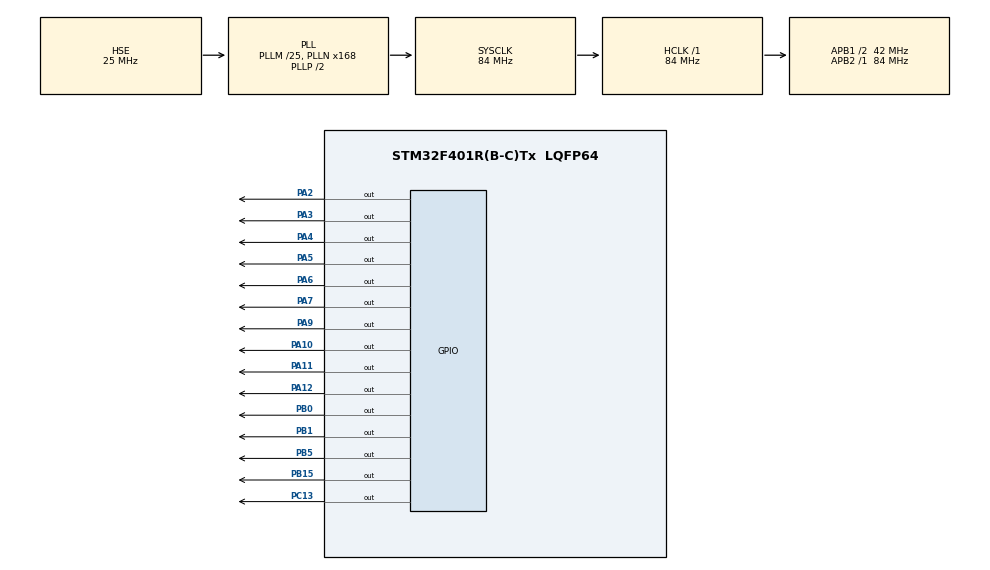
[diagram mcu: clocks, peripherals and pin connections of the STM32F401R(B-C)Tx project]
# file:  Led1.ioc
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Mcu.Family=STM32F4
Mcu.Name=STM32F401R(B-C)Tx
Mcu.Package=LQFP64
NVIC.PriorityGroup=NVIC_PRIORITYGROUP_4
PA10.GPIO_PuPd=GPIO_PULLUP
PA10.Signal=GPIO_Output
PA11.GPIO_PuPd=GPIO_PULLUP
PA11.Signal=GPIO_Output
PA12.GPIO_PuPd=GPIO_PULLUP
PA12.Signal=GPIO_Output
PA13.Mode=Serial_Wire
PA13.Signal=SYS_JTMS-SWDIO
PA14.Mode=Serial_Wire
PA14.Signal=SYS_JTCK-SWCLK
PA2.GPIO_PuPd=GPIO_PULLUP
PA2.Signal=GPIO_Output
PA3.Signal=GPIO_Output
PA4.GPIO_PuPd=GPIO_PULLUP
PA4.Signal=GPIO_Output
PA5.GPIO_PuPd=GPIO_PULLUP
PA5.Signal=GPIO_Output
PA6.GPIO_PuPd=GPIO_PULLUP
PA6.Signal=GPIO_Output
PA7.GPIO_PuPd=GPIO_PULLUP
PA7.Signal=GPIO_Output
PA9.GPIO_PuPd=GPIO_PULLUP
PA9.Signal=GPIO_Output
PB0.GPIO_PuPd=GPIO_PULLUP
PB0.Signal=GPIO_Output
PB1.GPIO_PuPd=GPIO_PULLUP
PB1.Signal=GPIO_Output
PB15.GPIO_PuPd=GPIO_PULLUP
PB15.Signal=GPIO_Output
PB5.Signal=GPIO_Output
PC13-ANTI_TAMP.PinState=GPIO_PIN_SET
PC13-ANTI_TAMP.Signal=GPIO_Output
PH0\ -\ OSC_IN.Mode=HSE-External-Oscillator
PH0\ -\ OSC_IN.Signal=RCC_OSC_IN
PH1\ -\ OSC_OUT.Mode=HSE-External-Oscillator
PH1\ -\ OSC_OUT.Signal=RCC_OSC_OUT
ProjectManager.HeapSize=0x200
ProjectManager.StackSize=0x400
ProjectManager.TargetToolchain=STM32CubeIDE
RCC.48MHZClocksFreq_Value=42000000
RCC.AHBFreq_Value=84000000
RCC.APB1CLKDivider=RCC_HCLK_DIV2
RCC.APB1Freq_Value=42000000
RCC.APB1TimFreq_Value=84000000
RCC.APB2Freq_Value=84000000
RCC.APB2TimFreq_Value=84000000
RCC.CortexFreq_Value=84000000
RCC.HCLKFreq_Value=84000000
RCC.HSE_VALUE=25000000
RCC.HSI_VALUE=16000000
RCC.LSE_VALUE=32768
RCC.PLLM=25
RCC.PLLN=168
RCC.PLLSourceVirtual=RCC_PLLSOURCE_HSE
RCC.SYSCLKFreq_VALUE=84000000
RCC.SYSCLKSource=RCC_SYSCLKSOURCE_PLLCLK
RCC.VCOOutputFreq_Value=168000000
board=custom

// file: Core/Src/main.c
/* USER CODE BEGIN Header */
/**
  ******************************************************************************
  * @file           : main.c
  * @brief          : Main program body
  ******************************************************************************
  * @attention
  *
  * Copyright (c) 2024 STMicroelectronics.
  * All rights reserved.
  *
  * This software is licensed under terms that can be found in the LICENSE file
  * in the root directory of this software component.
  * If no LICENSE file comes with this software, it is provided AS-IS.
  *
  ******************************************************************************
  */
/* USER CODE END Header */
#include "main.h"

/* USER CODE BEGIN Includes */
#include <math.h>
#include <stdbool.h>
/* USER CODE END Includes */

/* USER CODE BEGIN PV */
/*uint16_t count = 0;*/
uint16_t counter =0;
bool status = false;
uint16_t button_counter;
int hours = 0;
int minutes = 0;
int seconds = 0;
float actual_minute;
//int a=10;
char est=0;

/* USER CODE END PV */

void SystemClock_Config(void);
static void MX_GPIO_Init(void);
/* USER CODE BEGIN PFP */
void mode_set();
void mode_run();
void real_time();
void time_boton();
void show_minutes(GPIO_TypeDef* port,uint16_t Pin);
void show_hours(int h);
void shut_down();

/* USER CODE END PFP */

int main(void)
{

  /* MCU Configuration--------------------------------------------------------*/

  /* Reset of all peripherals, Initializes the Flash interface and the Systick. */
  HAL_Init();

  /* Configure the system clock */
  SystemClock_Config();

  /* Initialize all configured peripherals */
  MX_GPIO_Init();
  /* USER CODE BEGIN 2 */
 /* while(1){
	  HAL_Delay(a);
	  HAL_GPIO_WritePin(GPIOA, GPIO_PIN_2, GPIO_PIN_SET);
	  HAL_Delay(a);
	  HAL_GPIO_WritePin(GPIOA, GPIO_PIN_2, GPIO_PIN_RESET);

  }/*
  /* USER CODE END 2 */

  /* Infinite loop */
  while (1)
  {

    /* USER CODE BEGIN 3 */
	  HAL_Delay(1);
	  counter++;
	  real_time(); // actualiza las variables de tiempo (hours, minutes, seconds)
	  while(!(HAL_GPIO_ReadPin(GPIOB, GPIO_PIN_5) == 0))
	  {
	      if (status == false) {
	          counter = 0;
	          status = true;
	      }
	      HAL_Delay(1);
	      counter++;
	      button_counter++;//tiempo seleccion boton
	      real_time();// actualiza las variables de tiempo (hours, minutes, seconds)
	  }

	  if ((button_counter >= 400) && (button_counter < 2000))
	  {

		  button_counter = 0;
		  mode_run();
		  button_counter = 0;

	  }

	  else if (button_counter > (2000))
	  {
		  button_counter = 0;
	      mode_set();
	      button_counter = 0;
	  }

	  button_counter = 0;
	  status = false;

  }
  /* USER CODE END 3 */
}

void SystemClock_Config(void)
{
  RCC_OscInitTypeDef RCC_OscInitStruct = {0};
  RCC_ClkInitTypeDef RCC_ClkInitStruct = {0};

  /** Configure the main internal regulator output voltage
  */
  __HAL_RCC_PWR_CLK_ENABLE();
  __HAL_PWR_VOLTAGESCALING_CONFIG(PWR_REGULATOR_VOLTAGE_SCALE2);

  /** Initializes the RCC Oscillators according to the specified parameters
  * in the RCC_OscInitTypeDef structure.
  */
  RCC_OscInitStruct.OscillatorType = RCC_OSCILLATORTYPE_HSE;
  RCC_OscInitStruct.HSEState = RCC_HSE_ON;
  RCC_OscInitStruct.PLL.PLLState = RCC_PLL_ON;
  RCC_OscInitStruct.PLL.PLLSource = RCC_PLLSOURCE_HSE;
  RCC_OscInitStruct.PLL.PLLM = 25;
  RCC_OscInitStruct.PLL.PLLN = 168;
  RCC_OscInitStruct.PLL.PLLP = RCC_PLLP_DIV2;
  RCC_OscInitStruct.PLL.PLLQ = 4;
  if (HAL_RCC_OscConfig(&RCC_OscInitStruct) != HAL_OK)
  {
    Error_Handler();
  }

  /** Initializes the CPU, AHB and APB buses clocks
  */
  RCC_ClkInitStruct.ClockType = RCC_CLOCKTYPE_HCLK|RCC_CLOCKTYPE_SYSCLK
                              |RCC_CLOCKTYPE_PCLK1|RCC_CLOCKTYPE_PCLK2;
  RCC_ClkInitStruct.SYSCLKSource = RCC_SYSCLKSOURCE_PLLCLK;
  RCC_ClkInitStruct.AHBCLKDivider = RCC_SYSCLK_DIV1;
  RCC_ClkInitStruct.APB1CLKDivider = RCC_HCLK_DIV2;
  RCC_ClkInitStruct.APB2CLKDivider = RCC_HCLK_DIV1;

  if (HAL_RCC_ClockConfig(&RCC_ClkInitStruct, FLASH_LATENCY_2) != HAL_OK)
  {
    Error_Handler();
  }
}

static void MX_GPIO_Init(void)
{
  GPIO_InitTypeDef GPIO_InitStruct = {0};

  /* GPIO Ports Clock Enable */
  __HAL_RCC_GPIOC_CLK_ENABLE();
  __HAL_RCC_GPIOH_CLK_ENABLE();
  __HAL_RCC_GPIOA_CLK_ENABLE();
  __HAL_RCC_GPIOB_CLK_ENABLE();

  /*Configure GPIO pin Output Level */
  HAL_GPIO_WritePin(GPIOC, GPIO_PIN_13, GPIO_PIN_SET);

  /*Configure GPIO pin Output Level */
  HAL_GPIO_WritePin(GPIOA, GPIO_PIN_2|GPIO_PIN_3|GPIO_PIN_4|GPIO_PIN_5
                          |GPIO_PIN_6|GPIO_PIN_7|GPIO_PIN_9|GPIO_PIN_10
                          |GPIO_PIN_11|GPIO_PIN_12, GPIO_PIN_RESET);

  /*Configure GPIO pin Output Level */
  HAL_GPIO_WritePin(GPIOB, GPIO_PIN_0|GPIO_PIN_1|GPIO_PIN_15|GPIO_PIN_5, GPIO_PIN_RESET);

  /*Configure GPIO pin : PC13 */
  GPIO_InitStruct.Pin = GPIO_PIN_13;
  GPIO_InitStruct.Mode = GPIO_MODE_OUTPUT_PP;
  GPIO_InitStruct.Pull = GPIO_NOPULL;
  GPIO_InitStruct.Speed = GPIO_SPEED_FREQ_LOW;
  HAL_GPIO_Init(GPIOC, &GPIO_InitStruct);

  /*Configure GPIO pins : PA2 PA4 PA5 PA6
                           PA7 PA9 PA10 PA11
                           PA12 */
  GPIO_InitStruct.Pin = GPIO_PIN_2|GPIO_PIN_4|GPIO_PIN_5|GPIO_PIN_6
                          |GPIO_PIN_7|GPIO_PIN_9|GPIO_PIN_10|GPIO_PIN_11
                          |GPIO_PIN_12;
  GPIO_InitStruct.Mode = GPIO_MODE_OUTPUT_PP;
  GPIO_InitStruct.Pull = GPIO_PULLUP;
  GPIO_InitStruct.Speed = GPIO_SPEED_FREQ_LOW;
  HAL_GPIO_Init(GPIOA, &GPIO_InitStruct);

  /*Configure GPIO pin : PA3 */
  GPIO_InitStruct.Pin = GPIO_PIN_3;
  GPIO_InitStruct.Mode = GPIO_MODE_OUTPUT_PP;
  GPIO_InitStruct.Pull = GPIO_NOPULL;
  GPIO_InitStruct.Speed = GPIO_SPEED_FREQ_LOW;
  HAL_GPIO_Init(GPIOA, &GPIO_InitStruct);

  /*Configure GPIO pins : PB0 PB1 PB15 */
  GPIO_InitStruct.Pin = GPIO_PIN_0|GPIO_PIN_1|GPIO_PIN_15;
  GPIO_InitStruct.Mode = GPIO_MODE_OUTPUT_PP;
  GPIO_InitStruct.Pull = GPIO_PULLUP;
  GPIO_InitStruct.Speed = GPIO_SPEED_FREQ_LOW;
  HAL_GPIO_Init(GPIOB, &GPIO_InitStruct);

  /*Configure GPIO pin : PB5 */
  GPIO_InitStruct.Pin = GPIO_PIN_5;
  GPIO_InitStruct.Mode = GPIO_MODE_OUTPUT_PP;
  GPIO_InitStruct.Pull = GPIO_NOPULL;
  GPIO_InitStruct.Speed = GPIO_SPEED_FREQ_LOW;
  HAL_GPIO_Init(GPIOB, &GPIO_InitStruct);

}

/* USER CODE BEGIN 4 */
void mode_run() {
    HAL_GPIO_WritePin(GPIOA, GPIO_PIN_3, GPIO_PIN_SET);
    HAL_Delay(1);
    counter++;//tiempo
    button_counter++;//cuanto llevo
    real_time(); // actualiza las variables de tiempo (hours, minutes, seconds)
    while( button_counter <= 400)
    {
    	HAL_Delay(1);
    	button_counter++;
    	counter++;
    	real_time(); // actualiza las variables de tiempo (hours, minutes, seconds)
    }
    HAL_GPIO_WritePin(GPIOA, GPIO_PIN_3, GPIO_PIN_RESET);

    show_hours(hours);

    actual_minute = (float)minutes / 5;
    switch ((int)round(actual_minute)) {
        case 0:
            show_minutes(GPIOA, GPIO_PIN_2);
            break;
        case 1:
            show_minutes(GPIOA, GPIO_PIN_12);
            break;
        case 2:
            show_minutes(GPIOA, GPIO_PIN_11);
            break;
        case 3:
            show_minutes(GPIOA, GPIO_PIN_10);
            break;
        case 4:
            show_minutes(GPIOA, GPIO_PIN_9);
            break;
        case 5:
            show_minutes(GPIOB, GPIO_PIN_15);
            break;
        case 6:
            show_minutes(GPIOB, GPIO_PIN_0);
            break;
        case 7:
            show_minutes(GPIOA, GPIO_PIN_7);
            break;
        case 8:
            show_minutes(GPIOB, GPIO_PIN_1);
            break;
        case 9:
            show_minutes(GPIOA, GPIO_PIN_6);
            break;
        case 10:
            show_minutes(GPIOA, GPIO_PIN_5);
            break;
        case 11:
            show_minutes(GPIOA, GPIO_PIN_4);
            break;
        default:
            break;
    }

    shut_down();
}

void mode_set() {

	est=0;

 for (int i = 0; i < 4; i++)
 {
	HAL_GPIO_WritePin(GPIOA, GPIO_PIN_3, !(HAL_GPIO_ReadPin(GPIOA, GPIO_PIN_3)));// Encender LED MINUTO
	button_counter = 0;
	while( button_counter <= 400)
	    {
	HAL_Delay(1);
	button_counter++;
	counter++;
	real_time(); // actualiza las variables de tiempo (hours, minutes, seconds)
	    }
 }

 while(est == 0)
 {
	 show_hours(hours);

	 // Encender LED MINUTO
	 button_counter = 0;

	 while(!(HAL_GPIO_ReadPin(GPIOB, GPIO_PIN_5) == 0))
	 	  {
	 	      if (status == false) {
	 	          counter = 0;
	 	          status = true;
	 	      }
	 	      HAL_Delay(1);
	 	      counter++;
	 	      button_counter++;//tiempo seleccion boton
	 	      real_time();// actualiza las variables de tiempo (hours, minutes, seconds)
	 	  }

	 if ((button_counter >= 10) && (button_counter < 2000))
	 	  {

	 		  button_counter = 0;
	 		  hours = hours+1;
	 		  button_counter = 0;

	 		  if(hours >11){
	 			  hours =0;
	 		  }

	 		  shut_down();

	 	  }

	 else if (button_counter > (2000))
	 	  {
	 		  button_counter = 0;
	 		  est=1;
	 	      button_counter = 0;
	 	      shut_down();
	 	  }

 }

 while(est == 1)
 {
	 actual_minute = (float)minutes / 5;
	 show_hours(actual_minute);

	// Encender LED MINUTO
	 button_counter = 0;

	 while(!(HAL_GPIO_ReadPin(GPIOB, GPIO_PIN_5) == 0))
	 	  {
	 	      if (status == false) {
	 	          counter = 0;
	 	          status = true;
	 	      }
	 	      HAL_Delay(1);
	 	      counter++;
	 	      button_counter++;//tiempo seleccion boton
	 	      real_time();// actualiza las variables de tiempo (hours, minutes, seconds)
	 	  }

	 if ((button_counter >= 10) && (button_counter < 2000))
	 	 	  {

	 	 		  button_counter = 0;
	 	 		  minutes = minutes+5;
	 	 		  button_counter = 0;

	 	 		if(minutes >55){
					  minutes =0;
				  }

				  shut_down();

	 	 	  }

	 	 else if (button_counter > (2000))
	 	  {
	 		  button_counter = 0;
	 		  est=3;
	 	      button_counter = 0;
	 	      shut_down();
	 	  }

 }

 mode_run();

}

void real_time()
{
    if(counter >= 400)
    {
        seconds++;
        if (seconds >= 60)
        {
            seconds = 0;
            minutes++;
            if (minutes >= 60)
            {
                minutes = 0;
                hours++;
                if (hours >= 11)
                {
                    hours = 0;
                }
            }
        }
        counter=0;
    }
}

void show_hours(int h) {
	switch (h) {
	        case 0:
	        	HAL_GPIO_WritePin(GPIOA, GPIO_PIN_2, 1);

	            break;
	        case 1:
	        	HAL_GPIO_WritePin(GPIOA, GPIO_PIN_12, 1);
	            break;
	        case 2:
	        	HAL_GPIO_WritePin(GPIOA, GPIO_PIN_11, 1);
	            break;
	        case 3:
	        	HAL_GPIO_WritePin(GPIOA, GPIO_PIN_10, 1);
	            break;
	        case 4:
	        	HAL_GPIO_WritePin(GPIOA, GPIO_PIN_9, 1);
	            break;
	        case 5:
	        	HAL_GPIO_WritePin(GPIOB, GPIO_PIN_15, 1);
	            break;
	        case 6:
	        	HAL_GPIO_WritePin(GPIOB, GPIO_PIN_0, 1);
	            break;
	        case 7:
	        	HAL_GPIO_WritePin(GPIOA, GPIO_PIN_7, 1);
	            break;
	        case 8:
	        	HAL_GPIO_WritePin(GPIOB, GPIO_PIN_1, 1);
	            break;
	        case 9:
	        	HAL_GPIO_WritePin(GPIOA, GPIO_PIN_6, 1);
	            break;
	        case 10:
	        	HAL_GPIO_WritePin(GPIOA, GPIO_PIN_5, 1);
	            break;
	        case 11:
	        	HAL_GPIO_WritePin(GPIOA, GPIO_PIN_4, 1);
	            break;
	        default:
	            break;
	    }
}

void show_minutes(GPIO_TypeDef* port, uint16_t Pin)
{
    for (int i = 0; i < 10; i++)
    {
    	HAL_GPIO_WritePin(port, Pin, !(HAL_GPIO_ReadPin(port, Pin))); // Encender LED MINUTO
        button_counter = 0;
        while( button_counter <= 300)
		{
			HAL_Delay(1);
			button_counter++;
			counter++;
			real_time(); // actualiza las variables de tiempo (hours, minutes, seconds)
		}
    }
}

void shut_down() {
	HAL_GPIO_WritePin(GPIOA, GPIO_PIN_2, GPIO_PIN_RESET);
	HAL_GPIO_WritePin(GPIOA, GPIO_PIN_12, GPIO_PIN_RESET);
	HAL_GPIO_WritePin(GPIOA, GPIO_PIN_11, GPIO_PIN_RESET);
	HAL_GPIO_WritePin(GPIOA, GPIO_PIN_10, GPIO_PIN_RESET);
	HAL_GPIO_WritePin(GPIOA, GPIO_PIN_9, GPIO_PIN_RESET);
	HAL_GPIO_WritePin(GPIOB, GPIO_PIN_15, GPIO_PIN_RESET);
	HAL_GPIO_WritePin(GPIOB, GPIO_PIN_0, GPIO_PIN_RESET);
	HAL_GPIO_WritePin(GPIOA, GPIO_PIN_7, GPIO_PIN_RESET);
	HAL_GPIO_WritePin(GPIOB, GPIO_PIN_1, GPIO_PIN_RESET);
	HAL_GPIO_WritePin(GPIOA, GPIO_PIN_6, GPIO_PIN_RESET);
	HAL_GPIO_WritePin(GPIOA, GPIO_PIN_5, GPIO_PIN_RESET);
	HAL_GPIO_WritePin(GPIOA, GPIO_PIN_4, GPIO_PIN_RESET);
}

/* USER CODE END 4 */

void Error_Handler(void)
{
  __disable_irq();
  while (1)
  {
  }
}
